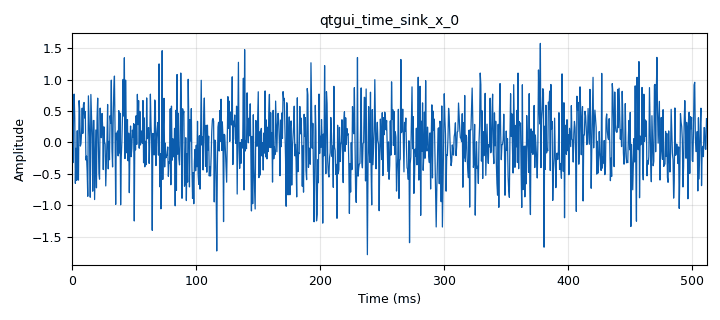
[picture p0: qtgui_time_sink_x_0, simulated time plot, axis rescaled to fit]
options:
  parameters:
    author: usacys
    generate_options: qt_gui
    id: tcp_sink_example
    output_language: python
    title: Not titled yet
  states: {}

blocks:
- name: samp_rate
  id: variable
  parameters:
    value: '2000'
  states: {}
- name: analog_noise_source_x_0
  id: analog_noise_source_x
  parameters:
    amp: '0.5'
    noise_type: analog.GR_GAUSSIAN
    seed: '0'
    type: float
  states: {}
- name: blocks_float_to_uchar_0
  id: blocks_float_to_uchar
  parameters: {}
  states: {}
- name: blocks_tcp_server_sink_0
  id: blocks_tcp_server_sink
  parameters:
    ipaddr: 0.0.0.0
    noblock: 'True'
    port: '50009'
    type: byte
    vlen: '1'
  states: {}
- name: blocks_throttle_0
  id: blocks_throttle
  parameters:
    samples_per_second: samp_rate
    type: float
  states: {}
- name: qtgui_time_sink_x_0
  id: qtgui_time_sink_x
  parameters:
    size: '1024'
    srate: samp_rate
    type: float
  states: {}

connections:
- [analog_noise_source_x_0, '0', blocks_throttle_0, '0']
- [blocks_float_to_uchar_0, '0', blocks_tcp_server_sink_0, '0']
- [blocks_throttle_0, '0', blocks_float_to_uchar_0, '0']
- [blocks_throttle_0, '0', qtgui_time_sink_x_0, '0']

metadata:
  file_format: 1
